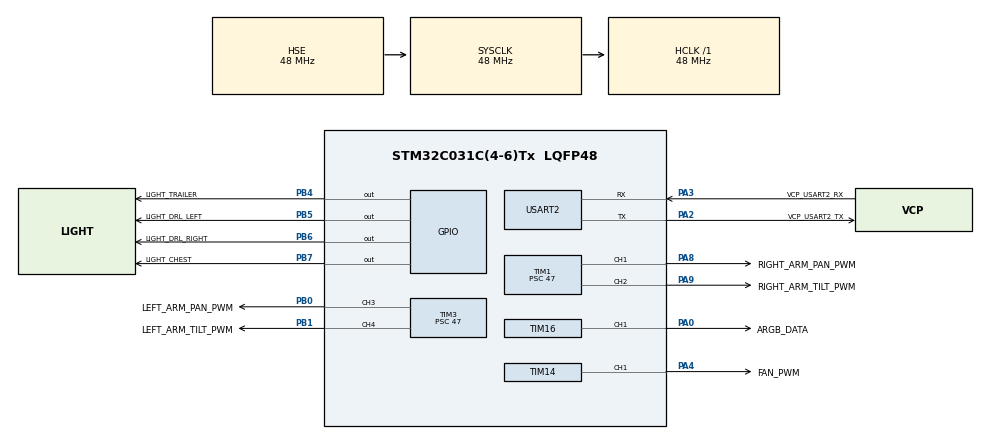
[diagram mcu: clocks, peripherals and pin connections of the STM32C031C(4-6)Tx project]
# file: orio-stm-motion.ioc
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Dma.Request0=TIM16_CH1
Dma.TIM16_CH1.0.Direction=DMA_MEMORY_TO_PERIPH
Dma.TIM16_CH1.0.EventEnable=DISABLE
Dma.TIM16_CH1.0.Instance=DMA1_Channel1
Dma.TIM16_CH1.0.MemDataAlignment=DMA_MDATAALIGN_WORD
Dma.TIM16_CH1.0.MemInc=DMA_MINC_ENABLE
Dma.TIM16_CH1.0.Mode=DMA_NORMAL
Dma.TIM16_CH1.0.PeriphDataAlignment=DMA_PDATAALIGN_WORD
Dma.TIM16_CH1.0.PeriphInc=DMA_PINC_DISABLE
Dma.TIM16_CH1.0.Polarity=HAL_DMAMUX_REQ_GEN_RISING
Dma.TIM16_CH1.0.Priority=DMA_PRIORITY_LOW
Dma.TIM16_CH1.0.RequestNumber=1
Dma.TIM16_CH1.0.SignalID=NONE
Dma.TIM16_CH1.0.SyncEnable=DISABLE
Dma.TIM16_CH1.0.SyncPolarity=HAL_DMAMUX_SYNC_NO_EVENT
Dma.TIM16_CH1.0.SyncRequestNumber=1
Dma.TIM16_CH1.0.SyncSignalID=NONE
Mcu.Family=STM32C0
Mcu.Name=STM32C031C(4-6)Tx
Mcu.Package=LQFP48
NVIC.DMA1_Channel1_IRQn=true\:0\:0\:false\:false\:true\:true\:true\:true
NVIC.USART2_IRQn=true\:0\:0\:false\:false\:true\:true\:true\:true
PA0.GPIO_Label=ARGB_DATA
PA0.Signal=S_TIM16_CH1
PA13.GPIO_Label=DEBUG_SWDIO
PA13.Signal=DEBUG_SWDIO
PA14-BOOT0.GPIO_Label=DEBUG_SWCLK
PA14-BOOT0.Signal=DEBUG_SWCLK
PA2.GPIO_Label=VCP_USART2_TX
PA2.Mode=Asynchronous
PA2.Signal=USART2_TX
PA3.GPIO_Label=VCP_USART2_RX
PA3.Mode=Asynchronous
PA3.Signal=USART2_RX
PA4.GPIO_Label=FAN_PWM
PA4.Signal=S_TIM14_CH1
PA6.GPIO_Label=SERVO_PWM
PA6.Signal=S_TIM3_CH1
PA7.GPIO_Label=TILT_SERVO_PWM
PA7.Signal=S_TIM3_CH2
PA8.GPIO_Label=RIGHT_ARM_PAN_PWM
PA8.Signal=S_TIM1_CH1
PA9.GPIO_Label=RIGHT_ARM_TILT_PWM
PA9.Signal=S_TIM1_CH2
PB0.GPIO_Label=LEFT_ARM_PAN_PWM
PB0.Signal=S_TIM3_CH3
PB1.GPIO_Label=LEFT_ARM_TILT_PWM
PB1.Signal=S_TIM3_CH4
PB4.GPIO_Label=LIGHT_TRAILER
PB4.Signal=GPIO_Output
PB5.GPIO_Label=LIGHT_DRL_LEFT
PB5.Signal=GPIO_Output
PB6.GPIO_Label=LIGHT_DRL_RIGHT
PB6.Signal=GPIO_Output
PB7.GPIO_Label=LIGHT_CHEST
PB7.Signal=GPIO_Output
PC14-OSCX_IN\ (PC14).GPIO_Label=RCC_OSCX_IN
PC14-OSCX_IN\ (PC14).Mode=LSE-External-Oscillator
PC14-OSCX_IN\ (PC14).Signal=RCC_OSCX_IN
PC15-OSCX_OUT\ (PC15).GPIO_Label=RCC_OSCX_OUT
PC15-OSCX_OUT\ (PC15).Mode=LSE-External-Oscillator
PC15-OSCX_OUT\ (PC15).Signal=RCC_OSCX_OUT
PF0-OSC_IN\ (PF0).GPIO_Label=RCC_OSC_IN
PF0-OSC_IN\ (PF0).Mode=HSE-External-Oscillator
PF0-OSC_IN\ (PF0).Signal=RCC_OSC_IN
PF1-OSC_OUT\ (PF1).GPIO_Label=RCC_OSC_OUT
PF1-OSC_OUT\ (PF1).Mode=HSE-External-Oscillator
PF1-OSC_OUT\ (PF1).Signal=RCC_OSC_OUT
ProjectManager.HeapSize=0x200
ProjectManager.StackSize=0x400
ProjectManager.TargetToolchain=STM32CubeIDE
RCC.ADCFreq_Value=48000000
RCC.AHBFreq_Value=48000000
RCC.CortexFreq_Value=48000000
RCC.EXTERNAL_CLOCK_VALUE=12288000
RCC.HCLKFreq_Value=48000000
RCC.HSE_VALUE=48000000
RCC.HSISYSCLKDivider=RCC_HSI_DIV1
RCC.HSI_VALUE=48000000
RCC.SYSCLKFreq_VALUE=48000000
RCC.SYSCLKSource=RCC_SYSCLKSOURCE_HSE
SH.S_TIM14_CH1.0=TIM14_CH1,PWM Generation1 CH1
SH.S_TIM16_CH1.0=TIM16_CH1,PWM Generation1 CH1
SH.S_TIM1_CH1.0=TIM1_CH1,PWM Generation1 CH1
SH.S_TIM1_CH2.0=TIM1_CH2,PWM Generation2 CH2
SH.S_TIM3_CH1.0=TIM3_CH1
SH.S_TIM3_CH2.0=TIM3_CH2
SH.S_TIM3_CH3.0=TIM3_CH3,PWM Generation3 CH3
SH.S_TIM3_CH4.0=TIM3_CH4,PWM Generation4 CH4
TIM1.Channel-PWM\ Generation1\ CH1=TIM_CHANNEL_1
TIM1.Channel-PWM\ Generation2\ CH2=TIM_CHANNEL_2
TIM1.Period=19999
TIM1.Prescaler=47
TIM1.Pulse-PWM\ Generation1\ CH1=1500
TIM1.Pulse-PWM\ Generation2\ CH2=1500
TIM14.Channel=TIM_CHANNEL_1
TIM14.Period=1919
TIM16.Channel=TIM_CHANNEL_1
TIM16.Period=59
TIM16.Prescaler=0
TIM3.Channel-PWM\ Generation1\ CH1=TIM_CHANNEL_1
TIM3.Channel-PWM\ Generation2\ CH2=TIM_CHANNEL_2
TIM3.Channel-PWM\ Generation3\ CH3=TIM_CHANNEL_3
TIM3.Channel-PWM\ Generation4\ CH4=TIM_CHANNEL_4
TIM3.Period=19999
TIM3.Prescaler=47
TIM3.Pulse-PWM\ Generation1\ CH1=1500
TIM3.Pulse-PWM\ Generation2\ CH2=1500
TIM3.Pulse-PWM\ Generation3\ CH3=1500
TIM3.Pulse-PWM\ Generation4\ CH4=1500
USART2.VirtualMode-Asynchronous=VM_ASYNC
VP_TIM14_VS_ClockSourceINT.Mode=Enable_Timer
VP_TIM16_VS_ClockSourceINT.Mode=Enable_Timer
board=NUCLEO-C031C6

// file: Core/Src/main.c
/* USER CODE BEGIN Header */
/**
  ******************************************************************************
  * @file           : main.c
  * @brief          : Main program body
  ******************************************************************************
  * @attention
  *
  * Copyright (c) 2026 STMicroelectronics.
  * All rights reserved.
  *
  * This software is licensed under terms that can be found in the LICENSE file
  * in the root directory of this software component.
  * If no LICENSE file comes with this software, it is provided AS-IS.
  *
  ******************************************************************************
  */
/* USER CODE END Header */
#include "main.h"

/* USER CODE BEGIN Includes */
#include "protocol.h"
#include "servo_joint.h"
#include "fan.h"
#include "argb.h"
#include "lights.h"
/* USER CODE END Includes */

TIM_HandleTypeDef htim1;
TIM_HandleTypeDef htim3;
TIM_HandleTypeDef htim14;
TIM_HandleTypeDef htim16;
DMA_HandleTypeDef hdma_tim16_ch1;

UART_HandleTypeDef huart2;

/* USER CODE BEGIN PV */
static ServoJoint_t s_neckJoint;     /* pan (TIM3_CH1/PA6) + tilt (TIM3_CH2/PA7) */
static ServoJoint_t s_leftArmJoint;  /* pan (TIM3_CH3/PB0) + tilt (TIM3_CH4/PB1) */
static ServoJoint_t s_rightArmJoint; /* pan (TIM1_CH1/PA8) + tilt (TIM1_CH2/PA9) */
static uint32_t s_lastServoTick;     /* HAL tick the joint ramps were last stepped at */
/* USER CODE END PV */

void SystemClock_Config(void);
static void MX_GPIO_Init(void);
static void MX_DMA_Init(void);
static void MX_USART2_UART_Init(void);
static void MX_TIM1_Init(void);
static void MX_TIM3_Init(void);
static void MX_TIM14_Init(void);
static void MX_TIM16_Init(void);

int main(void)
{

  /* MCU Configuration--------------------------------------------------------*/

  /* Reset of all peripherals, Initializes the Flash interface and the Systick. */
  HAL_Init();

  /* Configure the system clock */
  SystemClock_Config();

  /* Initialize all configured peripherals */
  MX_GPIO_Init();
  MX_DMA_Init();
  MX_USART2_UART_Init();
  MX_TIM1_Init();
  MX_TIM3_Init();
  MX_TIM14_Init();
  MX_TIM16_Init();
  /* USER CODE BEGIN 2 */
  ServoJoint_Init(&s_neckJoint, JOINT_POS_NECK, &htim3, TIM_CHANNEL_1, &htim3, TIM_CHANNEL_2);
  ServoJoint_Init(&s_leftArmJoint, JOINT_POS_LEFT_ARM, &htim3, TIM_CHANNEL_3, &htim3, TIM_CHANNEL_4);
  ServoJoint_Init(&s_rightArmJoint, JOINT_POS_RIGHT_ARM, &htim1, TIM_CHANNEL_1, &htim1, TIM_CHANNEL_2);
  Fan_Init(&htim14, TIM_CHANNEL_1);
  ARGB_Init(&htim16, TIM_CHANNEL_1);
  Lights_Init(); /* all four start off; nothing else drives these pins */
  Protocol_BindJoint(JOINT_POS_NECK, &s_neckJoint); /* bind before Protocol_Init() so it can hold the joint stopped */
  Protocol_BindJoint(JOINT_POS_LEFT_ARM, &s_leftArmJoint);
  Protocol_BindJoint(JOINT_POS_RIGHT_ARM, &s_rightArmJoint);
  Protocol_Init(&huart2);
  s_lastServoTick = HAL_GetTick();
  /* USER CODE END 2 */

  /* Infinite loop */
  /* USER CODE BEGIN WHILE */
  while (1)
  {
    Protocol_Process();
    /* USER CODE END WHILE */

    /* USER CODE BEGIN 3 */
    /* Step every joint's ramp toward its target (see ServoJoint_Update()).
     * This loop spins far faster than the 1 ms HAL tick, so most passes see
     * elapsed == 0. Advancing s_lastServoTick only on a non-zero elapsed is
     * what makes that safe: resetting it every pass would discard the
     * sub-millisecond remainder each time and the ramp would never advance. */
    uint32_t now = HAL_GetTick();
    uint32_t elapsed_ms = now - s_lastServoTick;
    if (elapsed_ms > 0u)
    {
      s_lastServoTick = now;
      ServoJoint_Update(&s_neckJoint, elapsed_ms);
      ServoJoint_Update(&s_leftArmJoint, elapsed_ms);
      ServoJoint_Update(&s_rightArmJoint, elapsed_ms);
    }
  }
  /* USER CODE END 3 */
}

void SystemClock_Config(void)
{
  RCC_OscInitTypeDef RCC_OscInitStruct = {0};
  RCC_ClkInitTypeDef RCC_ClkInitStruct = {0};

  __HAL_FLASH_SET_LATENCY(FLASH_LATENCY_1);

  /** Initializes the RCC Oscillators according to the specified parameters
  * in the RCC_OscInitTypeDef structure.
  */
  RCC_OscInitStruct.OscillatorType = RCC_OSCILLATORTYPE_HSE;
  RCC_OscInitStruct.HSEState = RCC_HSE_ON;
  if (HAL_RCC_OscConfig(&RCC_OscInitStruct) != HAL_OK)
  {
    Error_Handler();
  }

  /** Initializes the CPU, AHB and APB buses clocks
  */
  RCC_ClkInitStruct.ClockType = RCC_CLOCKTYPE_HCLK|RCC_CLOCKTYPE_SYSCLK
                              |RCC_CLOCKTYPE_PCLK1;
  RCC_ClkInitStruct.SYSCLKSource = RCC_SYSCLKSOURCE_HSE;
  RCC_ClkInitStruct.SYSCLKDivider = RCC_SYSCLK_DIV1;
  RCC_ClkInitStruct.AHBCLKDivider = RCC_HCLK_DIV1;
  RCC_ClkInitStruct.APB1CLKDivider = RCC_APB1_DIV1;

  if (HAL_RCC_ClockConfig(&RCC_ClkInitStruct, FLASH_LATENCY_1) != HAL_OK)
  {
    Error_Handler();
  }
}

static void MX_TIM1_Init(void)
{

  TIM_MasterConfigTypeDef sMasterConfig = {0};
  TIM_OC_InitTypeDef sConfigOC = {0};
  TIM_BreakDeadTimeConfigTypeDef sBreakDeadTimeConfig = {0};

  htim1.Instance = TIM1;
  htim1.Init.Prescaler = 47;
  htim1.Init.CounterMode = TIM_COUNTERMODE_UP;
  htim1.Init.Period = 19999;
  htim1.Init.ClockDivision = TIM_CLOCKDIVISION_DIV1;
  htim1.Init.RepetitionCounter = 0;
  htim1.Init.AutoReloadPreload = TIM_AUTORELOAD_PRELOAD_DISABLE;
  if (HAL_TIM_PWM_Init(&htim1) != HAL_OK)
  {
    Error_Handler();
  }
  sMasterConfig.MasterOutputTrigger = TIM_TRGO_RESET;
  sMasterConfig.MasterOutputTrigger2 = TIM_TRGO2_RESET;
  sMasterConfig.MasterSlaveMode = TIM_MASTERSLAVEMODE_DISABLE;
  if (HAL_TIMEx_MasterConfigSynchronization(&htim1, &sMasterConfig) != HAL_OK)
  {
    Error_Handler();
  }
  sConfigOC.OCMode = TIM_OCMODE_PWM1;
  sConfigOC.Pulse = 1500;
  sConfigOC.OCPolarity = TIM_OCPOLARITY_HIGH;
  sConfigOC.OCNPolarity = TIM_OCNPOLARITY_HIGH;
  sConfigOC.OCFastMode = TIM_OCFAST_DISABLE;
  sConfigOC.OCIdleState = TIM_OCIDLESTATE_RESET;
  sConfigOC.OCNIdleState = TIM_OCNIDLESTATE_RESET;
  if (HAL_TIM_PWM_ConfigChannel(&htim1, &sConfigOC, TIM_CHANNEL_1) != HAL_OK)
  {
    Error_Handler();
  }
  if (HAL_TIM_PWM_ConfigChannel(&htim1, &sConfigOC, TIM_CHANNEL_2) != HAL_OK)
  {
    Error_Handler();
  }
  sBreakDeadTimeConfig.OffStateRunMode = TIM_OSSR_DISABLE;
  sBreakDeadTimeConfig.OffStateIDLEMode = TIM_OSSI_DISABLE;
  sBreakDeadTimeConfig.LockLevel = TIM_LOCKLEVEL_OFF;
  sBreakDeadTimeConfig.DeadTime = 0;
  sBreakDeadTimeConfig.BreakState = TIM_BREAK_DISABLE;
  sBreakDeadTimeConfig.BreakPolarity = TIM_BREAKPOLARITY_HIGH;
  sBreakDeadTimeConfig.BreakFilter = 0;
  sBreakDeadTimeConfig.BreakAFMode = TIM_BREAK_AFMODE_INPUT;
  sBreakDeadTimeConfig.Break2State = TIM_BREAK2_DISABLE;
  sBreakDeadTimeConfig.Break2Polarity = TIM_BREAK2POLARITY_HIGH;
  sBreakDeadTimeConfig.Break2Filter = 0;
  sBreakDeadTimeConfig.Break2AFMode = TIM_BREAK_AFMODE_INPUT;
  sBreakDeadTimeConfig.AutomaticOutput = TIM_AUTOMATICOUTPUT_DISABLE;
  if (HAL_TIMEx_ConfigBreakDeadTime(&htim1, &sBreakDeadTimeConfig) != HAL_OK)
  {
    Error_Handler();
  }
  HAL_TIM_MspPostInit(&htim1);

}

static void MX_TIM3_Init(void)
{

  TIM_MasterConfigTypeDef sMasterConfig = {0};
  TIM_OC_InitTypeDef sConfigOC = {0};

  htim3.Instance = TIM3;
  htim3.Init.Prescaler = 47;
  htim3.Init.CounterMode = TIM_COUNTERMODE_UP;
  htim3.Init.Period = 19999;
  htim3.Init.ClockDivision = TIM_CLOCKDIVISION_DIV1;
  htim3.Init.AutoReloadPreload = TIM_AUTORELOAD_PRELOAD_DISABLE;
  if (HAL_TIM_PWM_Init(&htim3) != HAL_OK)
  {
    Error_Handler();
  }
  sMasterConfig.MasterOutputTrigger = TIM_TRGO_RESET;
  sMasterConfig.MasterSlaveMode = TIM_MASTERSLAVEMODE_DISABLE;
  if (HAL_TIMEx_MasterConfigSynchronization(&htim3, &sMasterConfig) != HAL_OK)
  {
    Error_Handler();
  }
  sConfigOC.OCMode = TIM_OCMODE_PWM1;
  sConfigOC.Pulse = 1500;
  sConfigOC.OCPolarity = TIM_OCPOLARITY_HIGH;
  sConfigOC.OCFastMode = TIM_OCFAST_DISABLE;
  if (HAL_TIM_PWM_ConfigChannel(&htim3, &sConfigOC, TIM_CHANNEL_1) != HAL_OK)
  {
    Error_Handler();
  }
  if (HAL_TIM_PWM_ConfigChannel(&htim3, &sConfigOC, TIM_CHANNEL_2) != HAL_OK)
  {
    Error_Handler();
  }
  if (HAL_TIM_PWM_ConfigChannel(&htim3, &sConfigOC, TIM_CHANNEL_3) != HAL_OK)
  {
    Error_Handler();
  }
  if (HAL_TIM_PWM_ConfigChannel(&htim3, &sConfigOC, TIM_CHANNEL_4) != HAL_OK)
  {
    Error_Handler();
  }
  HAL_TIM_MspPostInit(&htim3);

}

static void MX_TIM14_Init(void)
{

  TIM_OC_InitTypeDef sConfigOC = {0};

  htim14.Instance = TIM14;
  htim14.Init.Prescaler = 0;
  htim14.Init.CounterMode = TIM_COUNTERMODE_UP;
  htim14.Init.Period = 1919;
  htim14.Init.ClockDivision = TIM_CLOCKDIVISION_DIV1;
  htim14.Init.AutoReloadPreload = TIM_AUTORELOAD_PRELOAD_DISABLE;
  if (HAL_TIM_Base_Init(&htim14) != HAL_OK)
  {
    Error_Handler();
  }
  if (HAL_TIM_PWM_Init(&htim14) != HAL_OK)
  {
    Error_Handler();
  }
  sConfigOC.OCMode = TIM_OCMODE_PWM1;
  sConfigOC.Pulse = 0;
  sConfigOC.OCPolarity = TIM_OCPOLARITY_HIGH;
  sConfigOC.OCFastMode = TIM_OCFAST_DISABLE;
  if (HAL_TIM_PWM_ConfigChannel(&htim14, &sConfigOC, TIM_CHANNEL_1) != HAL_OK)
  {
    Error_Handler();
  }
  HAL_TIM_MspPostInit(&htim14);

}

static void MX_TIM16_Init(void)
{

  TIM_OC_InitTypeDef sConfigOC = {0};
  TIM_BreakDeadTimeConfigTypeDef sBreakDeadTimeConfig = {0};

  htim16.Instance = TIM16;
  htim16.Init.Prescaler = 0;
  htim16.Init.CounterMode = TIM_COUNTERMODE_UP;
  htim16.Init.Period = 59;
  htim16.Init.ClockDivision = TIM_CLOCKDIVISION_DIV1;
  htim16.Init.RepetitionCounter = 0;
  htim16.Init.AutoReloadPreload = TIM_AUTORELOAD_PRELOAD_DISABLE;
  if (HAL_TIM_Base_Init(&htim16) != HAL_OK)
  {
    Error_Handler();
  }
  if (HAL_TIM_PWM_Init(&htim16) != HAL_OK)
  {
    Error_Handler();
  }
  sConfigOC.OCMode = TIM_OCMODE_PWM1;
  sConfigOC.Pulse = 0;
  sConfigOC.OCPolarity = TIM_OCPOLARITY_HIGH;
  sConfigOC.OCNPolarity = TIM_OCNPOLARITY_HIGH;
  sConfigOC.OCFastMode = TIM_OCFAST_DISABLE;
  sConfigOC.OCIdleState = TIM_OCIDLESTATE_RESET;
  sConfigOC.OCNIdleState = TIM_OCNIDLESTATE_RESET;
  if (HAL_TIM_PWM_ConfigChannel(&htim16, &sConfigOC, TIM_CHANNEL_1) != HAL_OK)
  {
    Error_Handler();
  }
  sBreakDeadTimeConfig.OffStateRunMode = TIM_OSSR_DISABLE;
  sBreakDeadTimeConfig.OffStateIDLEMode = TIM_OSSI_DISABLE;
  sBreakDeadTimeConfig.LockLevel = TIM_LOCKLEVEL_OFF;
  sBreakDeadTimeConfig.DeadTime = 0;
  sBreakDeadTimeConfig.BreakState = TIM_BREAK_DISABLE;
  sBreakDeadTimeConfig.BreakPolarity = TIM_BREAKPOLARITY_HIGH;
  sBreakDeadTimeConfig.BreakFilter = 0;
  sBreakDeadTimeConfig.AutomaticOutput = TIM_AUTOMATICOUTPUT_DISABLE;
  if (HAL_TIMEx_ConfigBreakDeadTime(&htim16, &sBreakDeadTimeConfig) != HAL_OK)
  {
    Error_Handler();
  }
  HAL_TIM_MspPostInit(&htim16);

}

static void MX_USART2_UART_Init(void)
{

  huart2.Instance = USART2;
  huart2.Init.BaudRate = 115200;
  huart2.Init.WordLength = UART_WORDLENGTH_8B;
  huart2.Init.StopBits = UART_STOPBITS_1;
  huart2.Init.Parity = UART_PARITY_NONE;
  huart2.Init.Mode = UART_MODE_TX_RX;
  huart2.Init.HwFlowCtl = UART_HWCONTROL_NONE;
  huart2.Init.OverSampling = UART_OVERSAMPLING_16;
  huart2.Init.OneBitSampling = UART_ONE_BIT_SAMPLE_DISABLE;
  huart2.Init.ClockPrescaler = UART_PRESCALER_DIV1;
  huart2.AdvancedInit.AdvFeatureInit = UART_ADVFEATURE_NO_INIT;
  if (HAL_UART_Init(&huart2) != HAL_OK)
  {
    Error_Handler();
  }

}

static void MX_DMA_Init(void)
{

  /* DMA controller clock enable */
  __HAL_RCC_DMA1_CLK_ENABLE();

  /* DMA interrupt init */
  /* DMA1_Channel1_IRQn interrupt configuration */
  HAL_NVIC_SetPriority(DMA1_Channel1_IRQn, 0, 0);
  HAL_NVIC_EnableIRQ(DMA1_Channel1_IRQn);

}

static void MX_GPIO_Init(void)
{
  GPIO_InitTypeDef GPIO_InitStruct = {0};

  /* GPIO Ports Clock Enable */
  __HAL_RCC_GPIOC_CLK_ENABLE();
  __HAL_RCC_GPIOF_CLK_ENABLE();
  __HAL_RCC_GPIOA_CLK_ENABLE();
  __HAL_RCC_GPIOB_CLK_ENABLE();

  /*Configure GPIO pin Output Level */
  HAL_GPIO_WritePin(GPIOB, LIGHT_TRAILER_Pin|LIGHT_DRL_LEFT_Pin|LIGHT_DRL_RIGHT_Pin|LIGHT_CHEST_Pin, GPIO_PIN_RESET);

  /*Configure GPIO pins : LIGHT_TRAILER_Pin LIGHT_DRL_LEFT_Pin LIGHT_DRL_RIGHT_Pin LIGHT_CHEST_Pin */
  GPIO_InitStruct.Pin = LIGHT_TRAILER_Pin|LIGHT_DRL_LEFT_Pin|LIGHT_DRL_RIGHT_Pin|LIGHT_CHEST_Pin;
  GPIO_InitStruct.Mode = GPIO_MODE_OUTPUT_PP;
  GPIO_InitStruct.Pull = GPIO_NOPULL;
  GPIO_InitStruct.Speed = GPIO_SPEED_FREQ_LOW;
  HAL_GPIO_Init(GPIOB, &GPIO_InitStruct);

}

/* USER CODE BEGIN 4 */
/**
  * @brief  UART Rx-complete callback: forwards the received byte to the protocol layer.
  * @param  huart UART handle for which the receive completed.
  * @retval None
  */
void HAL_UART_RxCpltCallback(UART_HandleTypeDef *huart)
{
  Protocol_UART_RxCpltCallback(huart);
}
/* USER CODE END 4 */

void Error_Handler(void)
{
  __disable_irq();
  while (1)
  {
  }
}
